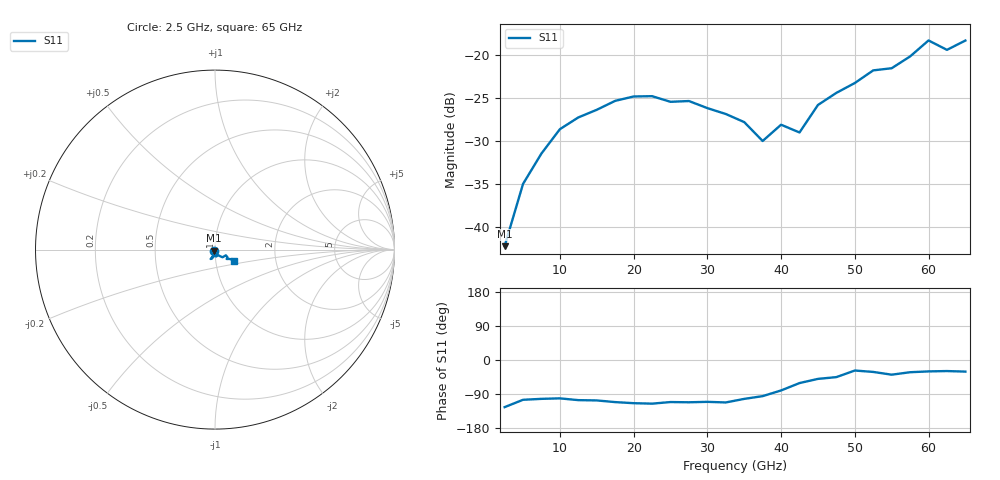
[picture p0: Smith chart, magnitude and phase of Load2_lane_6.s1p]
! File created by SignalIntegrity v1.5.1: Signal and Power Integrity Tools
! https://github.com/Nubis-Communications/SignalIntegrity
# MHz S MA R 50.0
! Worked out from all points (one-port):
!   26 points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, 2.5 GHz to 65 GHz, reference 50 ohm
!   lowest |S11| = -42.3 dB at 2.5 GHz (marker M1), VSWR 1.02, Z = 49.6 - j0.63 ohm
!   |S11| at or under -10 dB: start of sweep to end of sweep
2500  0.0077 -124.4
5000  0.01773 -105.0
7500  0.02665 -102.5
10000  0.03691 -101.2
12500  0.0432 -105.9
15000  0.04784 -106.7
17500  0.05394 -111.1
20000  0.05718 -114.0
22500  0.05742 -115.2
25000  0.05324 -111.0
27500  0.0538 -111.6
30000  0.04893 -110.4
32500  0.04522 -112.0
35000  0.04058 -102.6
37500  0.0315 -95.4
40000  0.03918 -80.3
42500  0.03531 -60.9
45000  0.05103 -49.9
47500  0.06001 -45.2
50000  0.06848 -27.8
52500  0.08112 -31.5
55000  0.08348 -38.8
57500  0.09777 -32.2
60000  0.1211 -30.1
62500  0.1068 -29.2
65000  0.121 -30.6
